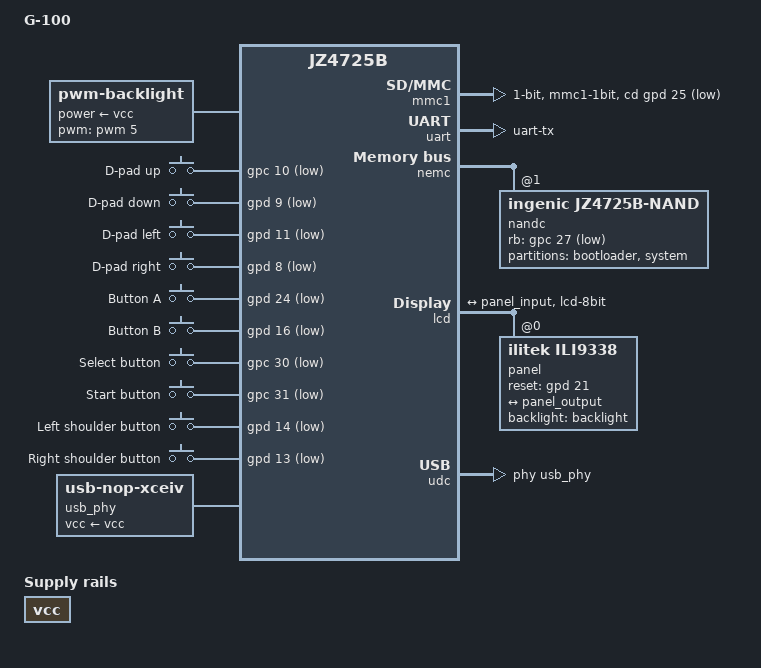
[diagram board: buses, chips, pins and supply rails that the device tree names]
// SPDX-License-Identifier: GPL-2.0
/dts-v1/;

#include "jz4725b.dtsi"

#include <dt-bindings/gpio/gpio.h>
#include <dt-bindings/input/linux-event-codes.h>

/ {
	compatible = "ylm,g100", "ingenic,jz4725b";
	model = "G-100";

	aliases {
		serial0 = &uart;
	};

	chosen {
		stdout-path = "serial0:57600n8";
	};

	board {
		#address-cells = <1>;
		#size-cells = <1>;
		compatible = "simple-bus";
		ranges = <>;

		backlight: backlight {
			compatible = "pwm-backlight";
			pwms = <&pwm 5 40000 0>;

			brightness-levels = <0 16 32 48 64 80 112 144 192 255>;
			default-brightness-level = <8>;

			pinctrl-names = "default";
			pinctrl-0 = <&pins_pwm5>;

			power-supply = <&vcc>;
		};

		keys@0 {
			compatible = "gpio-keys";
			#address-cells = <1>;
			#size-cells = <0>;

			key@0 {
				label = "D-pad up";
				linux,code = <KEY_UP>;
				gpios = <&gpc 10 GPIO_ACTIVE_LOW>;
			};

			key@1 {
				label = "D-pad down";
				linux,code = <KEY_DOWN>;
				gpios = <&gpd 9 GPIO_ACTIVE_LOW>;
			};

			key@2 {
				label = "D-pad left";
				linux,code = <KEY_LEFT>;
				gpios = <&gpd 11 GPIO_ACTIVE_LOW>;
			};

			key@3 {
				label = "D-pad right";
				linux,code = <KEY_RIGHT>;
				gpios = <&gpd 8 GPIO_ACTIVE_LOW>;
			};

			key@4 {
				label = "Button A";
				linux,code = <KEY_LEFTCTRL>;
				gpios = <&gpd 24 GPIO_ACTIVE_LOW>;
			};

			key@5 {
				label = "Button B";
				linux,code = <KEY_LEFTALT>;
				gpios = <&gpd 16 GPIO_ACTIVE_LOW>;
			};

			key@6 {
				label = "Select button";
				linux,code = <KEY_ESC>;
				gpios = <&gpc 30 GPIO_ACTIVE_LOW>;
			};

			key@7 {
				label = "Start button";
				linux,code = <KEY_ENTER>;
				gpios = <&gpc 31 GPIO_ACTIVE_LOW>;
			};

			key@8 {
				label = "Left shoulder button";
				linux,code = <KEY_TAB>;
				gpios = <&gpd 14 GPIO_ACTIVE_LOW>;
			};

			key@9 {
				label = "Right shoulder button";
				linux,code = <KEY_BACKSPACE>;
				gpios = <&gpd 13 GPIO_ACTIVE_LOW>;
			};
		};
/*

		amp: analog-amplifier {
			compatible = "simple-audio-amplifier";
			enable-gpios = <&gpc 15 GPIO_ACTIVE_HIGH>;

			VCC-supply = <&vcc>;
		};

		sound {
			compatible = "simple-audio-card";

			simple-audio-card,name = "rs90-audio";
			simple-audio-card,format = "i2s";

			simple-audio-card,widgets =
				"Speaker", "Speaker",
				"Headphone", "Headphones";
			simple-audio-card,routing =
				"INL", "LHPOUT",
				"INR", "RHPOUT",
				"Headphones", "LHPOUT",
				"Headphones", "RHPOUT",
				"Speaker", "OUTL",
				"Speaker", "OUTR";
			simple-audio-card,pin-switches = "Speaker";

			simple-audio-card,hp-det-gpio = <&gpd 16 GPIO_ACTIVE_LOW>;
			simple-audio-card,aux-devs = <&amp>;

			simple-audio-card,bitclock-master = <&dai_codec>;
			simple-audio-card,frame-master = <&dai_codec>;

			dai_cpu: simple-audio-card,cpu {
				sound-dai = <&aic>;
			};

			dai_codec: simple-audio-card,codec {
				sound-dai = <&codec>;
			};

		};
		*/

		regulators {
			#address-cells = <1>;
			#size-cells = <0>;
			compatible = "simple-bus";

			vcc: regulator@0 {
				compatible = "regulator-fixed";

				regulator-name = "vcc";
				regulaor-min-microvolt = <3300000>;
				regulaor-max-microvolt = <3300000>;
				regulator-always-on;
			};
		};

		usb_phy: usb-phy {
			compatible = "usb-nop-xceiv";
			#phy-cells = <0>;

			clocks = <&cgu JZ4725B_CLK_UDC_PHY>;
			clock-names = "main_clk";
			vcc-supply = <&vcc>;
		};
	};
};

&ext {
	clock-frequency = <12000000>;
};

&rtc_dev {
	system-power-controller;
};

&pinctrl {
	pins_mmc0: mmc0 {
		function = "mmc0";
		groups = "mmc0-1bit";
	};

	pins_mmc1: mmc1 {
		function = "mmc1";
		groups = "mmc1-1bit";
	};

	pins_uart: uart {
		function = "uart";
		groups = "uart-tx";
	};

	pins_nemc: nemc {
		function = "nand";
		groups = "nand-cs1", "nand-cle-ale", "nand-fre-fwe";
	};

	pins_pwm5: pwm {
		function = "pwm5";
		groups = "pwm5";
		bias-disable;
	};

	pins_lcd: lcd {
		function = "lcd";
		groups = "lcd-8bit";
	};
};

&mmc1 {
	bus-width = <1>;

	pinctrl-names = "default";
	pinctrl-0 = <&pins_mmc1>;

	cd-gpios = <&gpd 25 GPIO_ACTIVE_LOW>;
};

&mmc0 {
	status = "disabled";
};

&uart {
	pinctrl-names = "default";
	pinctrl-0 = <&pins_uart>;
};

&nemc {
	nandc: nand-controller@1 {
		compatible = "ingenic,jz4725b-nand";
		reg = <1 0 0x4000000>;

		#address-cells = <1>;
		#size-cells = <0>;

		ecc-engine = <&bch>;

		ingenic,nemc-tAS = <10>;
		ingenic,nemc-tAH = <5>;
		ingenic,nemc-tBP = <10>;
		ingenic,nemc-tAW = <15>;
		ingenic,nemc-tSTRV = <100>;

		pinctrl-names = "default";
		pinctrl-0 = <&pins_nemc>;

		rb-gpios = <&gpc 27 GPIO_ACTIVE_LOW>;

		nand@1 {
			reg = <1>;

			nand-ecc-step-size = <512>;
			nand-ecc-strength = <8>;
			nand-ecc-mode = "hw";
			nand-is-boot-medium;
			nand-on-flash-bbt;

			partitions {
				compatible = "fixed-partitions";
				#address-cells = <1>;
				#size-cells = <1>;

				partition@0 {
					label = "bootloader";
					reg = <0x0 0x20000>;
				};

				partition@20000 {
					label = "system";
					reg = <0x20000 0x0>;
				};
			};
		};
	};
};

&cgu {
	assigned-clocks = <&cgu JZ4725B_CLK_RTC>;
	assigned-clock-parents = <&cgu JZ4725B_CLK_OSC32K>;
};

&tcu {
	/* 750 kHz for the system timer and clocksource */
	assigned-clocks = <&tcu TCU_CLK_TIMER0>, <&tcu TCU_CLK_TIMER1>;
	assigned-clock-rates = <750000>, <750000>;
};

&lcd {
	pinctrl-names = "default";
	pinctrl-0 = <&pins_lcd>;

	#address-cells = <1>;
	#size-cells = <0>;

	panel@0 {
		compatible = "ilitek,ili9338";
		reg = <0>;

		backlight = <&backlight>;
		reset-gpios = <&gpd 21 GPIO_ACTIVE_HIGH>;
		cs-gpios = <&gpc 13 GPIO_ACTIVE_HIGH>;

		port {
			panel_input: endpoint {
				remote-endpoint = <&panel_output>;
			};
		};
	};

	port {
		panel_output: endpoint {
			remote-endpoint = <&panel_input>;
		};
	};
};

&udc {
	phys = <&usb_phy>;
};
